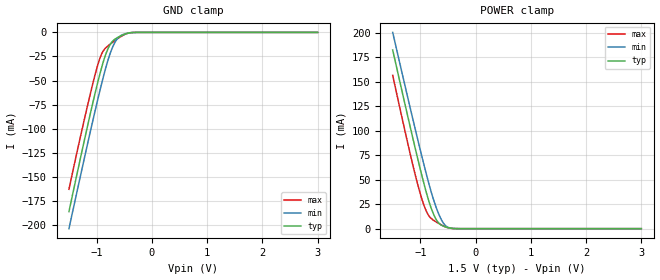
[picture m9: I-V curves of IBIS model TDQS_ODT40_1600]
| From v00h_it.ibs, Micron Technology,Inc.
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| MODEL TDQS_ODT40_1600 (TDQS Terminator Model with 40ohm ODT, 1333/1600/1866Mbps)
[Model]   TDQS_ODT40_1600
Model_type   Terminator
|   typ   min   max
|C_comp   1.023pF   0.931pF   1.130pF
C_comp_power_clamp   0.5115pF   0.4655pF   0.5650pF
C_comp_gnd_clamp   0.5115pF   0.4655pF   0.5650pF
| Note: C_comp changes when the ODT circuit is enabled.
[Voltage Range]   1.5000V   1.4250V   1.5750V
| Junction Temperature (Ambient temp is 35C typ, 95C min, -40C max)
[Temperature Range]   50.0   110.0   -40.0
[Add Submodel]
| Submodel Name   Mode
40ohm_ODT_1600   Non-Driving
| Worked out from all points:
|   GND clamp passes 1 mA (typ) near -0.44 V on its own axis
|   POWER clamp passes 1 mA (typ) near -0.50 V on its own axis
[GND Clamp]
|   Voltage   I(typ)   I(min)   I(max)
-1.5V     -186mA     -203.8mA   -162.9mA
-1.33V    -140.6mA   -159mA     -118mA
-1.16V    -96.29mA   -115mA     -75.17mA
-1.025V   -62.75mA   -81.02mA   -43.46mA
-955mV    -46.52mA   -64.07mA   -29.42mA
-875mV    -29.9mA    -45.65mA   -18.9mA
-780mV    -15.32mA   -26.33mA   -13.39mA
-690mV    -8.081mA   -12.81mA   -9.414mA
-595mV    -4.546mA   -4.833mA   -5.588mA
-495mV    -1.973mA   -1.623mA   -2.281mA
-350mV    -169.9uA   -150.1uA   -108.9uA
3V        0A         0A         0A
[POWER Clamp]
|   Voltage   I(typ)   I(min)   I(max)
-1.5V     182.5mA    200.5mA    156.6mA
-1.13V    91.09mA    110.6mA    63.67mA
-1.025V   66.3mA     85.93mA    40.54mA
-940mV    47.17mA    66.52mA    24.81mA
-845mV    27.99mA    45.93mA    13.09mA
-735mV    11.71mA    25.19mA    7.634mA
-680mV    6.638mA    16.76mA    5.727mA
-625mV    3.817mA    9.777mA    3.983mA
-535mV    1.566mA    2.695mA    1.641mA
-455mV    515.8uA    642.7uA    415.3uA
-305mV    19.82uA    29.17uA    4.375uA
3V        0A         0A         0A
